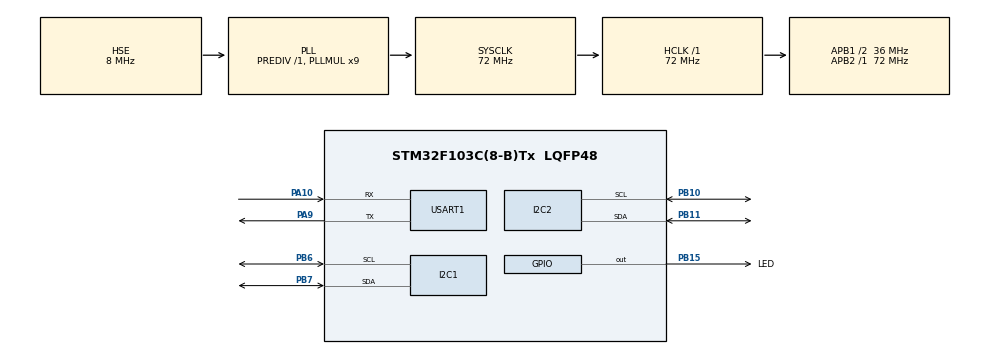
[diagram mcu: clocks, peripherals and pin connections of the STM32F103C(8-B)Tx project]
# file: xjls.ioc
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Dma.Request0=USART1_RX
Dma.Request1=USART1_TX
Dma.USART1_RX.0.Direction=DMA_PERIPH_TO_MEMORY
Dma.USART1_RX.0.Instance=DMA1_Channel5
Dma.USART1_RX.0.MemDataAlignment=DMA_MDATAALIGN_BYTE
Dma.USART1_RX.0.MemInc=DMA_MINC_ENABLE
Dma.USART1_RX.0.Mode=DMA_NORMAL
Dma.USART1_RX.0.PeriphDataAlignment=DMA_PDATAALIGN_BYTE
Dma.USART1_RX.0.PeriphInc=DMA_PINC_DISABLE
Dma.USART1_RX.0.Priority=DMA_PRIORITY_LOW
Dma.USART1_TX.1.Direction=DMA_MEMORY_TO_PERIPH
Dma.USART1_TX.1.Instance=DMA1_Channel4
Dma.USART1_TX.1.MemDataAlignment=DMA_MDATAALIGN_BYTE
Dma.USART1_TX.1.MemInc=DMA_MINC_ENABLE
Dma.USART1_TX.1.Mode=DMA_NORMAL
Dma.USART1_TX.1.PeriphDataAlignment=DMA_PDATAALIGN_BYTE
Dma.USART1_TX.1.PeriphInc=DMA_PINC_DISABLE
Dma.USART1_TX.1.Priority=DMA_PRIORITY_LOW
I2C2.I2C_Mode=I2C_Fast
Mcu.Family=STM32F1
Mcu.Name=STM32F103C(8-B)Tx
Mcu.Package=LQFP48
NVIC.DMA1_Channel4_IRQn=true\:0\:0\:false\:false\:true\:false\:true\:true
NVIC.DMA1_Channel5_IRQn=true\:0\:0\:false\:false\:true\:false\:true\:true
NVIC.PriorityGroup=NVIC_PRIORITYGROUP_4
NVIC.TIM2_IRQn=true\:0\:0\:false\:false\:true\:true\:true\:true
NVIC.USART1_IRQn=true\:0\:0\:false\:false\:true\:true\:true\:true
PA10.Mode=Asynchronous
PA10.Signal=USART1_RX
PA13.Mode=Serial_Wire
PA13.Signal=SYS_JTMS-SWDIO
PA14.Mode=Serial_Wire
PA14.Signal=SYS_JTCK-SWCLK
PA9.Mode=Asynchronous
PA9.Signal=USART1_TX
PB10.Mode=I2C
PB10.Signal=I2C2_SCL
PB11.Mode=I2C
PB11.Signal=I2C2_SDA
PB15.GPIO_Label=LED
PB15.GPIO_PuPd=GPIO_PULLUP
PB15.GPIO_Speed=GPIO_SPEED_FREQ_MEDIUM
PB15.PinState=GPIO_PIN_RESET
PB15.Signal=GPIO_Output
PB6.Mode=I2C
PB6.Signal=I2C1_SCL
PB7.Mode=I2C
PB7.Signal=I2C1_SDA
PD0-OSC_IN.Mode=HSE-External-Oscillator
PD0-OSC_IN.Signal=RCC_OSC_IN
PD1-OSC_OUT.Mode=HSE-External-Oscillator
PD1-OSC_OUT.Signal=RCC_OSC_OUT
ProjectManager.HeapSize=0x200
ProjectManager.StackSize=0x400
ProjectManager.TargetToolchain=STM32CubeIDE
RCC.AHBFreq_Value=72000000
RCC.APB1CLKDivider=RCC_HCLK_DIV2
RCC.APB1Freq_Value=36000000
RCC.APB1TimFreq_Value=72000000
RCC.APB2Freq_Value=72000000
RCC.APB2TimFreq_Value=72000000
RCC.HCLKFreq_Value=72000000
RCC.PLLMUL=RCC_PLL_MUL9
RCC.PLLSourceVirtual=RCC_PLLSOURCE_HSE
RCC.SYSCLKFreq_VALUE=72000000
RCC.SYSCLKSource=RCC_SYSCLKSOURCE_PLLCLK
RCC.USBFreq_Value=72000000
TIM2.AutoReloadPreload=TIM_AUTORELOAD_PRELOAD_ENABLE
TIM2.Period=999
TIM2.Prescaler=719
USART1.VirtualMode=VM_ASYNC
VP_RTC_VS_RTC_Activate.Mode=RTC_Enabled
VP_TIM2_VS_ClockSourceINT.Mode=Internal
board=custom

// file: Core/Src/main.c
/* USER CODE BEGIN Header */
/**
  ******************************************************************************
  * @file           : main.c
  * @brief          : Main program body
  ******************************************************************************
  * @attention
  *
  * Copyright (c) 2025 STMicroelectronics.
  * All rights reserved.
  *
  * This software is licensed under terms that can be found in the LICENSE file
  * in the root directory of this software component.
  * If no LICENSE file comes with this software, it is provided AS-IS.
  *
  ******************************************************************************
  */
/* USER CODE END Header */
#include "main.h"
#include "dma.h"
#include "i2c.h"
#include "rtc.h"
#include "tim.h"
#include "usart.h"
#include "gpio.h"

/* USER CODE BEGIN Includes */
#include <stdio.h>
#include "VL53L0X.h"
#include "tasks.h"
#include "UI_ble.h"
#include "mpu6050.h"
#include "counter.h"
#include "math.h"
/* USER CODE END Includes */

/* USER CODE BEGIN PV */
uint8_t rx_data[256] = {0};  // 接收缓冲区
MPU6050_t MPU6050;
float mix_angle = 0;
/* USER CODE END PV */

void SystemClock_Config(void);

int main(void)
{

  /* MCU Configuration--------------------------------------------------------*/

  /* Reset of all peripherals, Initializes the Flash interface and the Systick. */
  HAL_Init();

  /* Configure the system clock */
  SystemClock_Config();

  /* Initialize all configured peripherals */
  MX_GPIO_Init();
  MX_DMA_Init();
  MX_I2C1_Init();
  MX_RTC_Init();
  MX_TIM2_Init();
  MX_USART1_UART_Init();
  MX_I2C2_Init();
  /* USER CODE BEGIN 2 */
    HAL_TIM_Base_Start_IT(&htim2);
    HAL_UARTEx_ReceiveToIdle_DMA(&huart1, rx_data, sizeof(rx_data));
    __HAL_DMA_DISABLE_IT(huart1.hdmarx, DMA_IT_HT);
  // vl53l0x tof
  initVL53L0X(1, &hi2c1);
  // Configure the sensor for high accuracy and speed in 20 cm.
  setSignalRateLimit(200);
  setVcselPulsePeriod(VcselPeriodPreRange, 6);
  setVcselPulsePeriod(VcselPeriodFinalRange, 12);
  setMeasurementTimingBudget(500 * 1000UL);
  // startContinuous(10);
  MPU6050_Init(&hi2c2);
  HAL_Delay(100);
  if(task_index == 1) task1();
  counter.led_ms = 1000;
  /* USER CODE END 2 */

  /* Infinite loop */
  /* USER CODE BEGIN WHILE */
  while (1)
  {
      MPU6050_Read_All(&hi2c2, &MPU6050);
      // uart_printf("%d,%.2f\r\n",tof_distance,mix_angle);
      // mix_angle = sqrt(pow(MPU6050.KalmanAngleX, 2) + pow(MPU6050.KalmanAngleY, 2));
      mix_angle = sqrt(pow(MPU6050.Gx,2)+pow(MPU6050.Gy,2));
      // uart_printf("%.2f,%.2f,%.2f,%.2f\r\n",MPU6050.KalmanAngleX, MPU6050.KalmanAngleY, MPU6050.AngleZ,mix_angle);
      if(task_running == 1) {
          switch (task_index) {
            case 1:
                task1();
                break;
            case 2:
                task2();
                break;
            case 3:
                task3();
                break;
            case 4:
                task4();
                break;
            case 5:
                task5();
                break;
            case 6:
                task6();
                break;
            default: ;
          }
      }
    /* USER CODE END WHILE */

  }
}

void SystemClock_Config(void)
{
  RCC_OscInitTypeDef RCC_OscInitStruct = {0};
  RCC_ClkInitTypeDef RCC_ClkInitStruct = {0};
  RCC_PeriphCLKInitTypeDef PeriphClkInit = {0};

  /** Initializes the RCC Oscillators according to the specified parameters
  * in the RCC_OscInitTypeDef structure.
  */
  RCC_OscInitStruct.OscillatorType = RCC_OSCILLATORTYPE_LSI|RCC_OSCILLATORTYPE_HSE;
  RCC_OscInitStruct.HSEState = RCC_HSE_ON;
  RCC_OscInitStruct.HSEPredivValue = RCC_HSE_PREDIV_DIV1;
  RCC_OscInitStruct.HSIState = RCC_HSI_ON;
  RCC_OscInitStruct.LSIState = RCC_LSI_ON;
  RCC_OscInitStruct.PLL.PLLState = RCC_PLL_ON;
  RCC_OscInitStruct.PLL.PLLSource = RCC_PLLSOURCE_HSE;
  RCC_OscInitStruct.PLL.PLLMUL = RCC_PLL_MUL9;
  if (HAL_RCC_OscConfig(&RCC_OscInitStruct) != HAL_OK)
  {
    Error_Handler();
  }

  /** Initializes the CPU, AHB and APB buses clocks
  */
  RCC_ClkInitStruct.ClockType = RCC_CLOCKTYPE_HCLK|RCC_CLOCKTYPE_SYSCLK
                              |RCC_CLOCKTYPE_PCLK1|RCC_CLOCKTYPE_PCLK2;
  RCC_ClkInitStruct.SYSCLKSource = RCC_SYSCLKSOURCE_PLLCLK;
  RCC_ClkInitStruct.AHBCLKDivider = RCC_SYSCLK_DIV1;
  RCC_ClkInitStruct.APB1CLKDivider = RCC_HCLK_DIV2;
  RCC_ClkInitStruct.APB2CLKDivider = RCC_HCLK_DIV1;

  if (HAL_RCC_ClockConfig(&RCC_ClkInitStruct, FLASH_LATENCY_2) != HAL_OK)
  {
    Error_Handler();
  }
  PeriphClkInit.PeriphClockSelection = RCC_PERIPHCLK_RTC;
  PeriphClkInit.RTCClockSelection = RCC_RTCCLKSOURCE_LSI;
  if (HAL_RCCEx_PeriphCLKConfig(&PeriphClkInit) != HAL_OK)
  {
    Error_Handler();
  }
}

/* USER CODE BEGIN 4 */
void HAL_TIM_PeriodElapsedCallback(TIM_HandleTypeDef *htim)
{
    if(htim->Instance == TIM2)
    {
        if (counter.led_ms > 0) {
            counter.led_ms -= 10;
            HAL_GPIO_WritePin(LED_GPIO_Port,LED_Pin,GPIO_PIN_SET);
        }else {
            HAL_GPIO_WritePin(LED_GPIO_Port,LED_Pin,GPIO_PIN_RESET);
        }
    }
}

int my_atoi(const char *str)
{
    int res = 0;
    int sign = 1;
    if (*str == '-') {
        sign = -1;
        str++;
    }
    while (*str >= '0' && *str <= '9') {
        res = res * 10 + (*str - '0');
        str++;
    }
    return res * sign;
}

float my_atof(const char *str)
{
    float res = 0.0f;
    float frac = 0.0f;
    int sign = 1;
    int after_dot = 0;

    if (*str == '-') {
        sign = -1;
        str++;
    }

    while (*str)
    {
        if (*str >= '0' && *str <= '9') {
            if (after_dot) {
                frac = frac * 10 + (*str - '0');
                after_dot *= 10;
            } else {
                res = res * 10 + (*str - '0');
            }
        } else if (*str == '.') {
            if (after_dot) break;  // 已有小数点
            after_dot = 1;
        } else {
            break;
        }
        str++;
    }

    if (after_dot)
        res = res + frac / after_dot;

    return res * sign;
}
void HAL_UARTEx_RxEventCallback(UART_HandleTypeDef *huart, uint16_t Size)
{
    if (huart->Instance == USART1)
    {
        rx_data[Size] = '\0';  // 添加结束符

        char *token1 = strtok((char *)rx_data, ",");
        char *token2 = strtok(NULL, ",");
        char *token3 = strtok(NULL, ",");

        char msg[64] = {0};

        if (token1 && token2 && token3 && strcmp(token1, "index") == 0)
        {
            // index,任务号,参数值 模式
            int index_val = my_atoi(token2);
            int param_val = my_atoi(token3);
            task_index = index_val;

            if (param_val != 0 && index_val >= 0 && index_val < 10) {
                snprintf(msg, sizeof(msg), "index=%d param=%d\r\n", index_val, param_val);
            } else {
                snprintf(msg, sizeof(msg), "index=%d\r\n", index_val);
            }
            HAL_UART_Transmit_DMA(&huart1, (uint8_t *)msg, strlen(msg));
        }
        else if (token1 && token2)
        {
            // 普通变量名,值 模式
            if (strcmp(token1, "run") == 0)
            {
                task_running = my_atoi(token2);
                snprintf(msg, sizeof(msg), "%s=%d\r\n", token1, task_running);
                HAL_UART_Transmit_DMA(&huart1, (uint8_t *)msg, strlen(msg));
            }else if (strcmp(token1, "lenth") == 0) {
                platform_length_mm = my_atof(token2);
                snprintf(msg, sizeof(msg), "%s=%.2f\r\n", token1, platform_length_mm);
                HAL_UART_Transmit_DMA(&huart1, (uint8_t *)msg, strlen(msg));
            }
            else{
                const char *err = "Variable not found\r\n";
                HAL_UART_Transmit_DMA(&huart1, (uint8_t *)err, strlen(err));
            }
        }

        HAL_UARTEx_ReceiveToIdle_DMA(&huart1, rx_data, sizeof(rx_data));
        __HAL_DMA_DISABLE_IT(huart1.hdmarx, DMA_IT_HT);
    }
}

//void HAL_UARTEx_RxEventCallback(UART_HandleTypeDef *huart, uint16_t Size)
//{
//    if (huart->Instance == USART1)
//    {
//        rx_data[Size] = '\0';  // 添加字符串结束符，方便使用字符串函数
//
//        // 简单字符串解析
//        char *token = strtok((char *)rx_data, ",");
//        if (token != NULL) {
//            char *var_name = token;
//            token = strtok(NULL, ",");
//            if (token != NULL) {
//                int value = my_atoi(token);  // 字符串转整数
//                if (strcmp(var_name, "index") == 0) {
//                    task_index = value;
//                    // 可选：反馈当前变量状态
//                    char msg[64];
//                    snprintf(msg, sizeof(msg), "index = %d\r\n", task_index);
//                    HAL_UART_Transmit_DMA(&huart1, (uint8_t *)msg, strlen(msg));
//                } else {
//                    // 未知变量名，可选：发送错误信息
//                    const char *error_msg = "Unknown variable\r\n";
//                    HAL_UART_Transmit_DMA(&huart1, (uint8_t *) error_msg, strlen(error_msg));
//                }
//            }
//        }
//        // 重新开启DMA接收
//        HAL_UARTEx_ReceiveToIdle_DMA(&huart1, rx_data, sizeof(rx_data));
//        __HAL_DMA_DISABLE_IT(huart1.hdmarx, DMA_IT_HT);
//    }
//}

/* USER CODE END 4 */

void Error_Handler(void)
{
  __disable_irq();
  while (1)
  {
  }
}
